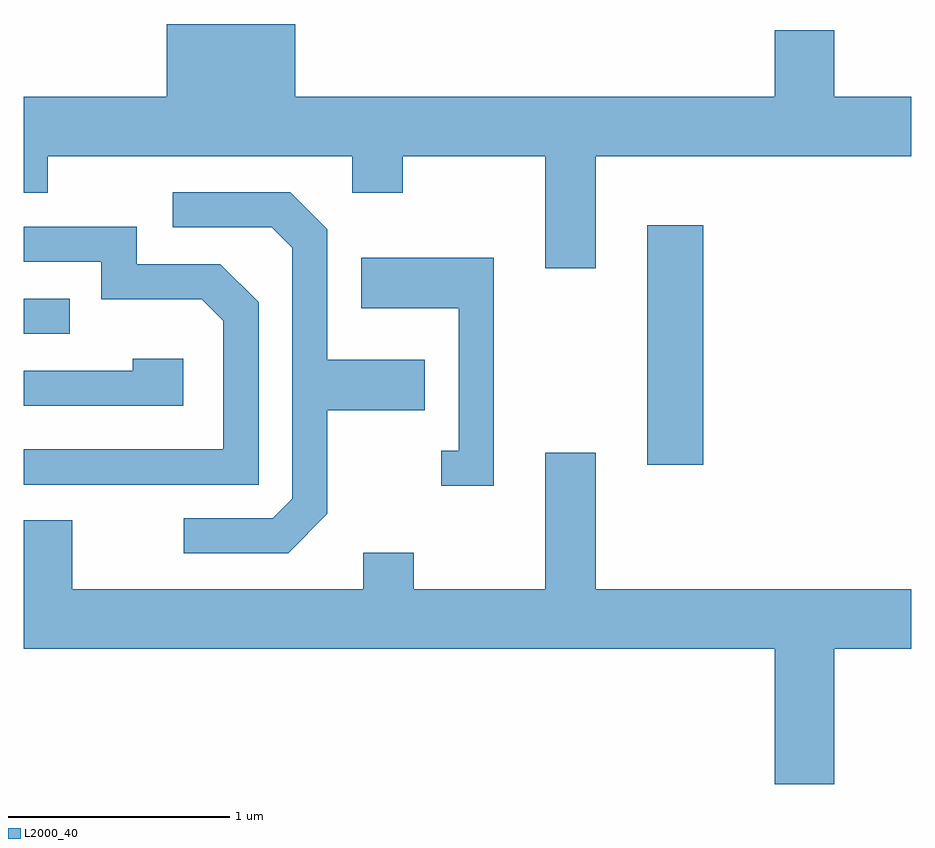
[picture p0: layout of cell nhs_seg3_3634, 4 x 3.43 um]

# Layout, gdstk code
import gdstk
lib = gdstk.Library(unit=1e-6, precision=1e-09)
def R(c, l, rs):  # rectangles x0, y0, x1, y1
    for r in rs: c.add(gdstk.rectangle(r[:2], r[2:], *l))
def P(c, l, *ps):  # polygons
    for p in ps: c.add(gdstk.Polygon(p, *l))
L2000_40 = (2000, 40)

nhs_seg3_3634 = lib.new_cell('nhs_seg3_3634')
R(nhs_seg3_3634, L2000_40, [(294.421,1177.906,294.674,1178.984), (291.611,1178.496,291.818,1178.654)])
P(nhs_seg3_3634, L2000_40, [(294.189,1179.296),(295.611,1179.296),(295.611,1179.564),(295.264,1179.564),(295.264,1179.864),(294.996,1179.864),(294.996,1179.564),(292.834,1179.564),(292.834,1179.892),(292.256,1179.892),(292.256,1179.564),(291.611,1179.564),(291.611,1179.131),(291.719,1179.131),(291.719,1179.296),(293.091,1179.296),(293.091,1179.131),(293.319,1179.131),(293.319,1179.296),(293.961,1179.296),(293.961,1178.791),(294.189,1178.791)],
  [(292.979,1177.684),(292.979,1178.151),(293.419,1178.151),(293.419,1178.379),(292.979,1178.379),(292.979,1178.967),(292.812,1179.134),(292.283,1179.134),(292.283,1178.976),(292.729,1178.976),(292.821,1178.884),(292.821,1177.752),(292.734,1177.664),(292.333,1177.664),(292.333,1177.506),(292.802,1177.506)],
  [(292.669,1178.637),(292.497,1178.809),(292.119,1178.809),(292.119,1178.979),(291.611,1178.979),(291.611,1178.821),(291.961,1178.821),(291.961,1178.651),(292.414,1178.651),(292.511,1178.554),(292.511,1177.974),(291.611,1177.974),(291.611,1177.816),(292.669,1177.816)],
  [(293.729,1178.839),(293.131,1178.839),(293.131,1178.611),(293.571,1178.611),(293.571,1177.969),(293.493,1177.969),(293.493,1177.811),(293.729,1177.811)],
  [(292.329,1178.384),(292.101,1178.384),(292.101,1178.329),(291.611,1178.329),(291.611,1178.171),(292.329,1178.171)],
  [(295.264,1177.076),(295.611,1177.076),(295.611,1177.344),(294.189,1177.344),(294.189,1177.959),(293.961,1177.959),(293.961,1177.344),(293.369,1177.344),(293.369,1177.509),(293.141,1177.509),(293.141,1177.344),(291.829,1177.344),(291.829,1177.654),(291.611,1177.654),(291.611,1177.076),(294.996,1177.076),(294.996,1176.466),(295.264,1176.466)])

lib.write_gds('nhs_seg3_3634.gds')
